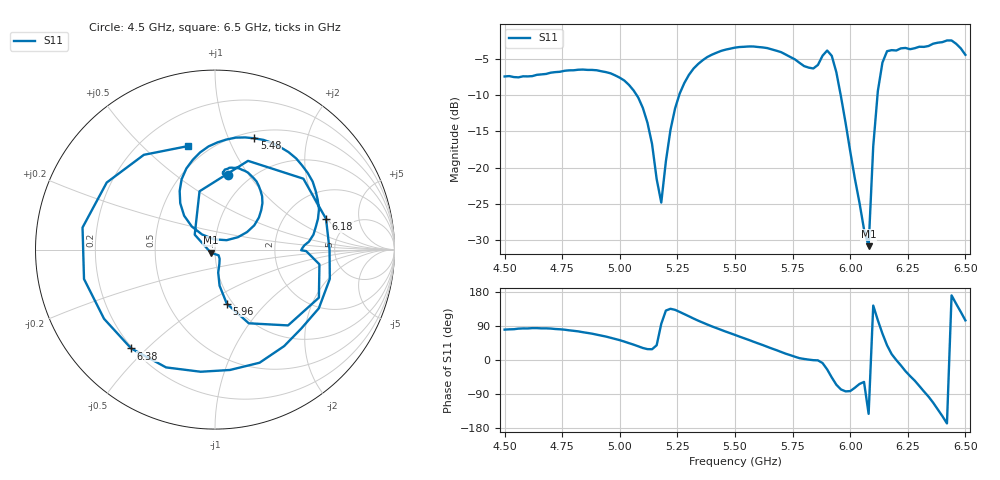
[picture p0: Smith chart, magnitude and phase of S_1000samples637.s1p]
! TOUCHSTONE file generated by CST MICROWAVE STUDIO
! Date and time: Fri Oct 28 20:55:52 2022
! Project name: L.cst
! Parameters = {Di=1.27; Epsilon_r=1.56; InnerDiameter=1.27; Length=2; Lf=10; Lg=60; OuterConductorThickness=0.2921; OuterDiameter=3.6; Wf=3; Wp=41.2; de=1.5; df=6.8; g=0.8; gx=0.429415; gy=1.76337; h=2.34; hf=1.524; px=10.8994; py=13.5433; w=9.7; wx=10.4699; wy=11.7799}
! Header version: 2018
! Port assignment regex: !\s*Touchstone port\s*([0-9]+)\s*=\s*(CST MWS port|CST DS port)\s*([0-9]+|Zmin|Zmax)\s*\(\"(.*)\"\)(\s*mode\s*([0-9]+))?.*
! Touchstone port assignment:
! Touchstone port 1 = CST MWS port 1 ("")
# GHz S DB R 50
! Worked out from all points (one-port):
!   101 points, 4.5 GHz to 6.5 GHz, reference 50 ohm
!   lowest |S11| = -30.8 dB at 6.08 GHz (marker M1), VSWR 1.06, Z = 47.7 - j1.69 ohm
!   |S11| at or under -10 dB: 5.072 GHz to 5.258 GHz (185.7 MHz wide, 3.6 % of centre); 5.959 GHz to 6.119 GHz (160 MHz wide, 2.65 % of centre)
!   S11 on the Smith chart (normalised r, x): 4.5 GHz: 0.79, +0.81; 5.48 GHz: 0.57, +1.25; 5.96 GHz: 0.94, -0.62; 6.18 GHz: 3.36, +1.96; 6.38 GHz: 0.19, -0.45; 6.5 GHz: 0.39, +0.70
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4.5  -7.47 80.2
4.76  -6.69 80.0
5  -7.64 52.3
5.1  -11.79 31.7
5.18  -24.80 95.6
5.22  -14.80 135.2
5.26  -9.82 126.8
5.38  -4.79 93.6
5.48  -3.64 70.6
5.5  -3.50 66.2
5.64  -3.57 34.8
5.76  -5.12 8.6
5.86  -5.88 -0.9
5.9  -3.91 -24.8
5.92  -4.63 -46.1
5.96  -10.23 -77.7
6  -17.74 -82.1
6.08  -30.80 -142.1
6.1  -17.06 143.6
6.12  -9.47 104.9
6.14  -5.55 69.6
6.18  -3.85 15.5
6.26  -3.72 -42.4
6.32  -3.40 -82.9
6.38  -2.83 -130.3
6.44  -2.52 170.5
6.48  -3.61 126.9
6.5  -4.49 104.6
